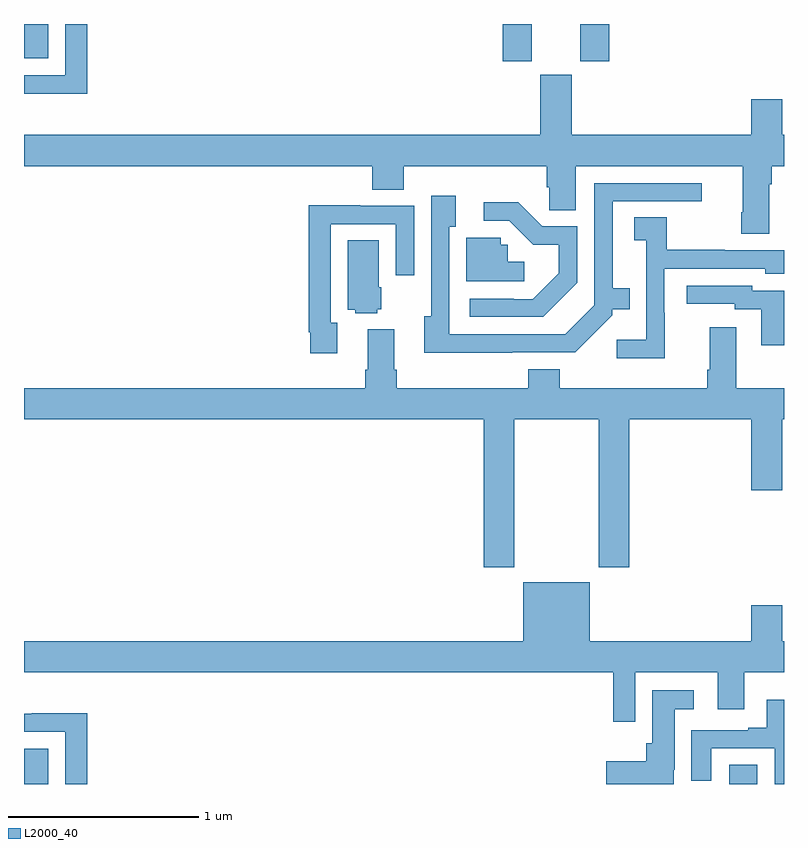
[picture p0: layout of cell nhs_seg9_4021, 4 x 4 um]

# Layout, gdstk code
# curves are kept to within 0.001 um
import gdstk
lib = gdstk.Library(unit=1e-6, precision=1e-09)
def R(c, l, rs):  # rectangles x0, y0, x1, y1
    for r in rs: c.add(gdstk.rectangle(r[:2], r[2:], *l))
def P(c, l, *ps):  # polygons
    for p in ps: c.add(gdstk.Polygon(p, *l))
L2000_40 = (2000, 40)

nhs_seg9_4021 = lib.new_cell('nhs_seg9_4021')
R(nhs_seg9_4021, L2000_40, [(341,1194.5,341.128,1194.685), (344.711,1194.5,344.86,1194.602), (343.52,1198.305,343.672,1198.5), (343.928,1198.305,344.081,1198.5), (341,1198.319,341.128,1198.5)])
P(nhs_seg9_4021, L2000_40, [(341.333,1198.5),(341.217,1198.5),(341.217,1198.23),(341,1198.23),(341,1198.134),(341.041,1198.134),(341.041,1198.133),(341.333,1198.133)],
  [(344.923,1197.656),(344.936,1197.656),(344.936,1197.752),(345,1197.752),(345,1197.916),(344.992,1197.916),(344.992,1198.105),(344.828,1198.105),(344.828,1197.916),(343.882,1197.916),(343.882,1198.233),(343.718,1198.233),(343.718,1197.916),(341,1197.916),(341,1197.752),(342.833,1197.752),(342.833,1197.628),(342.998,1197.628),(342.998,1197.752),(343.751,1197.752),(343.751,1197.642),(343.765,1197.642),(343.765,1197.52),(343.903,1197.52),(343.903,1197.752),(344.783,1197.752),(344.783,1197.508),(344.776,1197.508),(344.776,1197.396),(344.923,1197.396)],
  [(343.571,1196.772),(343.902,1196.772),(344.097,1196.967),(344.097,1196.999),(344.189,1196.999),(344.189,1197.109),(344.098,1197.109),(344.098,1197.567),(344.566,1197.567),(344.566,1197.663),(344.001,1197.663),(344.001,1197.021),(343.848,1196.868),(343.239,1196.868),(343.239,1197.434),(343.273,1197.434),(343.273,1197.595),(343.143,1197.595),(343.143,1196.962),(343.106,1196.962),(343.106,1196.771)],
  [(343.911,1197.137),(343.911,1197.435),(343.728,1197.435),(343.6,1197.563),(343.419,1197.563),(343.419,1197.465),(343.554,1197.465),(343.681,1197.338),(343.814,1197.338),(343.814,1197.188),(343.677,1197.051),(343.577,1197.051),(343.577,1197.054),(343.347,1197.054),(343.347,1196.958),(343.732,1196.958)],
  [(342.649,1196.927),(342.615,1196.927),(342.615,1197.447),(342.957,1197.447),(342.957,1197.177),(343.053,1197.177),(343.053,1197.543),(342.769,1197.543),(342.769,1197.547),(342.499,1197.547),(342.499,1196.878),(342.507,1196.878),(342.507,1196.766),(342.649,1196.766)],
  [(344.373,1196.981),(344.37,1196.981),(344.37,1197.213),(344.901,1197.213),(344.901,1197.185),(345,1197.185),(345,1197.309),(344.687,1197.309),(344.687,1197.312),(344.383,1197.312),(344.383,1197.482),(344.211,1197.482),(344.211,1197.361),(344.274,1197.361),(344.274,1196.839),(344.121,1196.839),(344.121,1196.741),(344.373,1196.741)],
  [(343.633,1197.25),(343.545,1197.25),(343.545,1197.339),(343.509,1197.339),(343.509,1197.375),(343.328,1197.375),(343.328,1197.147),(343.633,1197.147)],
  [(342.858,1197),(342.88,1197),(342.88,1197.114),(342.868,1197.114),(342.868,1197.362),(342.704,1197.362),(342.704,1196.996),(342.744,1196.996),(342.744,1196.978),(342.858,1196.978)],
  [(345,1197.096),(344.832,1197.096),(344.832,1197.123),(344.487,1197.123),(344.487,1197.027),(344.742,1197.027),(344.742,1197),(344.879,1197),(344.879,1196.808),(345,1196.808)],
  [(342.809,1196.893),(342.809,1196.68),(342.797,1196.68),(342.797,1196.584),(341,1196.584),(341,1196.42),(343.421,1196.42),(343.421,1195.641),(343.581,1195.641),(343.581,1196.42),(344.026,1196.42),(344.026,1195.641),(344.186,1195.641),(344.186,1196.42),(344.828,1196.42),(344.828,1196.046),(344.992,1196.046),(344.992,1196.42),(345,1196.42),(345,1196.584),(344.749,1196.584),(344.749,1196.905),(344.609,1196.905),(344.609,1196.68),(344.597,1196.68),(344.597,1196.584),(343.82,1196.584),(343.82,1196.683),(343.655,1196.683),(343.655,1196.584),(342.962,1196.584),(342.962,1196.68),(342.949,1196.68),(342.949,1196.893)],
  [(344.217,1195.088),(344.651,1195.088),(344.651,1194.894),(344.791,1194.894),(344.791,1195.088),(345,1195.088),(345,1195.252),(344.992,1195.252),(344.992,1195.441),(344.828,1195.441),(344.828,1195.252),(343.978,1195.252),(343.978,1195.561),(343.628,1195.561),(343.628,1195.252),(341,1195.252),(341,1195.088),(344.101,1195.088),(344.101,1194.828),(344.217,1194.828)],
  [(344.421,1194.574),(344.425,1194.574),(344.425,1194.893),(344.524,1194.893),(344.524,1194.994),(344.306,1194.994),(344.306,1194.714),(344.276,1194.714),(344.276,1194.619),(344.064,1194.619),(344.064,1194.5),(344.421,1194.5)],
  [(345,1194.943),(344.909,1194.943),(344.909,1194.796),(344.813,1194.796),(344.813,1194.783),(344.513,1194.783),(344.513,1194.516),(344.617,1194.516),(344.617,1194.687),(344.951,1194.687),(344.951,1194.5),(345,1194.5)],
  [(341.333,1194.872),(341.041,1194.872),(341.041,1194.87),(341,1194.87),(341,1194.774),(341.217,1194.774),(341.217,1194.5),(341.333,1194.5)])

lib.write_gds('nhs_seg9_4021.gds')
